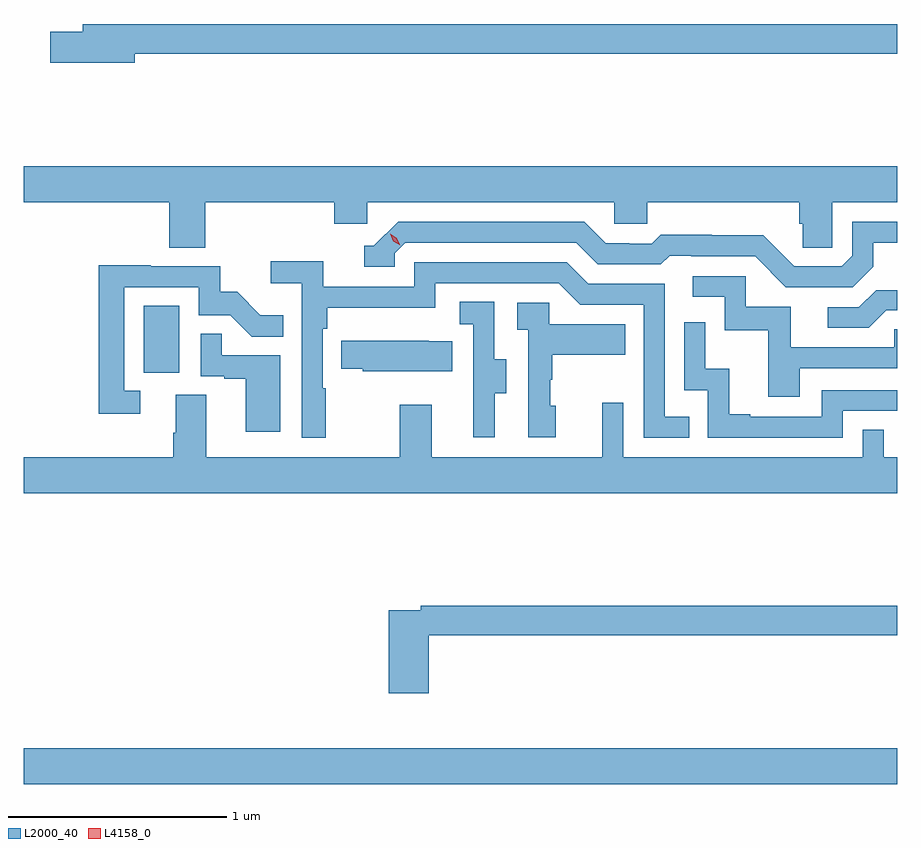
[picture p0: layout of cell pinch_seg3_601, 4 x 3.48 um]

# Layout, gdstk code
import gdstk
lib = gdstk.Library(unit=1e-6, precision=1e-09)
def R(c, l, rs):  # rectangles x0, y0, x1, y1
    for r in rs: c.add(gdstk.rectangle(r[:2], r[2:], *l))
def P(c, l, *ps):  # polygons
    for p in ps: c.add(gdstk.Polygon(p, *l))
L2000_40 = (2000, 40)
L4158_0 = (4158, 0)

pinch_seg3_601 = lib.new_cell('pinch_seg3_601')
R(pinch_seg3_601, L2000_40, [(1044.779,700.916,1048.779,701.08), (1045.328,702.798,1045.492,703.105)])
P(pinch_seg3_601, L2000_40, [(1045.288,704.26),(1048.779,704.26),(1048.779,704.396),(1045.049,704.396),(1045.049,704.36),(1044.9,704.36),(1044.9,704.218),(1045.288,704.218)],
  [(1045.61,703.58),(1046.201,703.58),(1046.201,703.482),(1046.352,703.482),(1046.352,703.58),(1047.483,703.58),(1047.483,703.482),(1047.633,703.482),(1047.633,703.58),(1048.331,703.58),(1048.331,703.482),(1048.345,703.482),(1048.345,703.372),(1048.482,703.372),(1048.482,703.58),(1048.779,703.58),(1048.779,703.744),(1044.779,703.744),(1044.779,703.58),(1045.445,703.58),(1045.445,703.372),(1045.61,703.372)],
  [(1048.669,703.285),(1048.669,703.395),(1048.779,703.395),(1048.779,703.491),(1048.572,703.491),(1048.572,703.335),(1048.524,703.287),(1048.308,703.287),(1048.166,703.429),(1047.93,703.429),(1047.93,703.432),(1047.697,703.432),(1047.655,703.389),(1047.552,703.389),(1047.552,703.392),(1047.445,703.392),(1047.346,703.491),(1046.493,703.491),(1046.382,703.38),(1046.339,703.38),(1046.339,703.284),(1046.478,703.284),(1046.478,703.347),(1046.526,703.395),(1047.309,703.395),(1047.408,703.296),(1047.697,703.296),(1047.736,703.335),(1047.835,703.335),(1047.835,703.332),(1048.128,703.332),(1048.269,703.191),(1048.575,703.191)],
  [(1046.161,702.728),(1046.148,702.728),(1046.148,703.001),(1046.168,703.001),(1046.168,703.097),(1046.664,703.097),(1046.664,703.209),(1047.228,703.209),(1047.327,703.11),(1047.618,703.11),(1047.618,702.501),(1047.827,702.501),(1047.827,702.597),(1047.714,702.597),(1047.714,703.206),(1047.364,703.206),(1047.265,703.305),(1046.568,703.305),(1046.568,703.194),(1046.15,703.194),(1046.15,703.31),(1045.911,703.31),(1045.911,703.208),(1046.052,703.208),(1046.052,702.501),(1046.161,702.501)],
  [(1045.312,702.717),(1045.239,702.717),(1045.239,703.191),(1045.581,703.191),(1045.581,703.062),(1045.725,703.062),(1045.823,702.964),(1045.967,702.964),(1045.967,703.063),(1045.863,703.063),(1045.756,703.17),(1045.68,703.17),(1045.68,703.287),(1045.361,703.287),(1045.361,703.292),(1045.123,703.292),(1045.123,702.612),(1045.312,702.612)],
  [(1048.333,702.819),(1048.779,702.819),(1048.779,702.999),(1048.765,702.999),(1048.765,702.915),(1048.291,702.915),(1048.291,703.101),(1048.086,703.101),(1048.086,703.242),(1047.843,703.242),(1047.843,703.146),(1047.99,703.146),(1047.99,702.993),(1048.189,702.993),(1048.189,702.69),(1048.333,702.69)],
  [(1048.729,703.086),(1048.779,703.086),(1048.779,703.178),(1048.682,703.178),(1048.602,703.098),(1048.461,703.098),(1048.461,703.005),(1048.648,703.005)],
  [(1046.935,702.706),(1046.989,702.706),(1046.989,702.861),(1046.934,702.861),(1046.934,703.124),(1046.775,703.124),(1046.775,703.021),(1046.838,703.021),(1046.838,702.717),(1046.837,702.717),(1046.837,702.504),(1046.935,702.504)],
  [(1047.214,702.648),(1047.189,702.648),(1047.189,702.767),(1047.199,702.767),(1047.199,702.881),(1047.533,702.881),(1047.533,703.021),(1047.186,703.021),(1047.186,703.119),(1047.039,703.119),(1047.039,702.995),(1047.09,702.995),(1047.09,702.504),(1047.214,702.504)],
  [(1048.53,702.624),(1048.779,702.624),(1048.779,702.72),(1048.434,702.72),(1048.434,702.597),(1048.105,702.597),(1048.105,702.61),(1048.01,702.61),(1048.01,702.818),(1047.9,702.818),(1047.9,703.03),(1047.804,703.03),(1047.804,702.72),(1047.912,702.72),(1047.912,702.501),(1048.53,702.501)],
  [(1045.954,702.879),(1045.685,702.879),(1045.685,702.977),(1045.59,702.977),(1045.59,702.783),(1045.697,702.783),(1045.697,702.771),(1045.796,702.771),(1045.796,702.528),(1045.954,702.528)],
  [(1046.741,702.943),(1046.633,702.943),(1046.633,702.946),(1046.233,702.946),(1046.233,702.817),(1046.331,702.817),(1046.331,702.806),(1046.741,702.806)],
  [(1048.62,702.539),(1048.62,702.412),(1047.525,702.412),(1047.525,702.661),(1047.428,702.661),(1047.428,702.412),(1046.647,702.412),(1046.647,702.652),(1046.5,702.652),(1046.5,702.412),(1045.615,702.412),(1045.615,702.698),(1045.475,702.698),(1045.475,702.524),(1045.463,702.524),(1045.463,702.412),(1044.779,702.412),(1044.779,702.248),(1048.779,702.248),(1048.779,702.412),(1048.716,702.412),(1048.716,702.539)],
  [(1046.633,701.596),(1048.779,701.596),(1048.779,701.732),(1046.596,701.732),(1046.596,701.712),(1046.45,701.712),(1046.45,701.331),(1046.633,701.331)])
P(pinch_seg3_601, L4158_0, [(1046.502,703.382),(1046.472,703.402),(1046.457,703.435),(1046.457,703.435),(1046.457,703.435),(1046.487,703.415),(1046.503,703.382),(1046.503,703.382)])

lib.write_gds('pinch_seg3_601.gds')
